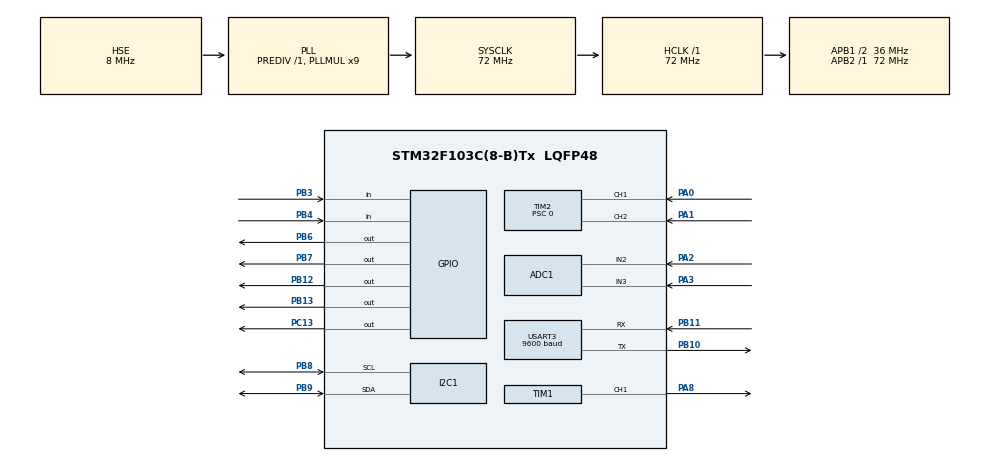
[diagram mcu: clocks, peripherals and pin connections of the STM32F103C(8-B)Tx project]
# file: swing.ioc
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ADC1.Channel-0\#ChannelRegularConversion=ADC_CHANNEL_2
ADC1.NbrOfConversionFlag=1
ADC1.Rank-0\#ChannelRegularConversion=1
ADC1.SamplingTime-0\#ChannelRegularConversion=ADC_SAMPLETIME_1CYCLE_5
ADC1.master=1
Mcu.Family=STM32F1
Mcu.Name=STM32F103C(8-B)Tx
Mcu.Package=LQFP48
NVIC.ADC1_2_IRQn=true\:0\:0\:false\:false\:true\:true\:true\:true
NVIC.PriorityGroup=NVIC_PRIORITYGROUP_4
NVIC.TIM1_BRK_IRQn=true\:0\:0\:false\:false\:true\:true\:true\:true
NVIC.TIM1_CC_IRQn=true\:0\:0\:false\:false\:true\:true\:true\:true
NVIC.TIM1_TRG_COM_IRQn=true\:0\:0\:false\:false\:true\:true\:true\:true
NVIC.TIM1_UP_IRQn=true\:0\:0\:false\:false\:true\:true\:true\:true
NVIC.TIM2_IRQn=true\:0\:0\:false\:false\:true\:true\:true\:true
NVIC.TIM3_IRQn=true\:0\:0\:false\:false\:true\:true\:true\:true
NVIC.TIM4_IRQn=true\:0\:0\:false\:false\:true\:true\:true\:true
NVIC.USART3_IRQn=true\:1\:0\:true\:false\:true\:true\:true\:true
PA0-WKUP.Signal=S_TIM2_CH1_ETR
PA1.Signal=S_TIM2_CH2
PA13.Mode=Serial_Wire
PA13.Signal=SYS_JTMS-SWDIO
PA14.Mode=Serial_Wire
PA14.Signal=SYS_JTCK-SWCLK
PA2.Signal=ADCx_IN2
PA3.Signal=ADCx_IN3
PA8.Signal=S_TIM1_CH1
PB10.Mode=Asynchronous
PB10.Signal=USART3_TX
PB11.Mode=Asynchronous
PB11.Signal=USART3_RX
PB12.Signal=GPIO_Output
PB13.Signal=GPIO_Output
PB3.GPIO_PuPd=GPIO_PULLUP
PB3.Signal=GPIO_Input
PB4.GPIO_PuPd=GPIO_PULLUP
PB4.Signal=GPIO_Input
PB6.Signal=GPIO_Output
PB7.Signal=GPIO_Output
PB8.Mode=I2C
PB8.Signal=I2C1_SCL
PB9.Mode=I2C
PB9.Signal=I2C1_SDA
PC13-TAMPER-RTC.PinState=GPIO_PIN_SET
PC13-TAMPER-RTC.Signal=GPIO_Output
PD0-OSC_IN.Mode=HSE-External-Oscillator
PD0-OSC_IN.Signal=RCC_OSC_IN
PD1-OSC_OUT.Mode=HSE-External-Oscillator
PD1-OSC_OUT.Signal=RCC_OSC_OUT
ProjectManager.HeapSize=0x200
ProjectManager.StackSize=0x400
ProjectManager.TargetToolchain=MDK-ARM V5.32
RCC.ADCPresc=RCC_ADCPCLK2_DIV6
RCC.AHBFreq_Value=72000000
RCC.APB1CLKDivider=RCC_HCLK_DIV2
RCC.APB1Freq_Value=36000000
RCC.APB1TimFreq_Value=72000000
RCC.APB2Freq_Value=72000000
RCC.APB2TimFreq_Value=72000000
RCC.HCLKFreq_Value=72000000
RCC.PLLMUL=RCC_PLL_MUL9
RCC.PLLSourceVirtual=RCC_PLLSOURCE_HSE
RCC.SYSCLKFreq_VALUE=72000000
RCC.SYSCLKSource=RCC_SYSCLKSOURCE_PLLCLK
RCC.USBFreq_Value=72000000
SH.ADCx_IN2.0=ADC1_IN2,IN2
SH.ADCx_IN3.0=ADC1_IN3,IN3
SH.S_TIM1_CH1.0=TIM1_CH1,PWM Generation1 CH1
SH.S_TIM2_CH1_ETR.0=TIM2_CH1,Encoder_Interface
SH.S_TIM2_CH2.0=TIM2_CH2,Encoder_Interface
TIM1.Channel-PWM\ Generation1\ CH1=TIM_CHANNEL_1
TIM1.Period=10000-1
TIM1.Prescaler=72-1
TIM2.EncoderMode=TIM_ENCODERMODE_TI12
TIM2.Period=65535
TIM2.Prescaler=0
TIM3.Period=1000-1
TIM3.Prescaler=72-1
TIM4.Period=1499
TIM4.Prescaler=721
USART3.BaudRate=9600
USART3.VirtualMode=VM_ASYNC
VP_TIM1_VS_ClockSourceINT.Mode=Internal
VP_TIM3_VS_ClockSourceINT.Mode=Internal
VP_TIM4_VS_ClockSourceINT.Mode=Internal
board=custom

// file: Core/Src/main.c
/* USER CODE BEGIN Header */
/**
 ******************************************************************************
 * @file           : main.c
 * @brief          : Main program body
 ******************************************************************************
 * @attention
 *
 * Copyright (c) 2024 STMicroelectronics.
 * All rights reserved.
 *
 * This software is licensed under terms that can be found in the LICENSE file
 * in the root directory of this software component.
 * If no LICENSE file comes with this software, it is provided AS-IS.
 *
 ******************************************************************************
 */
/* USER CODE END Header */
#include "main.h"
#include "adc.h"
#include "i2c.h"
#include "tim.h"
#include "usart.h"
#include "gpio.h"

/* USER CODE BEGIN Includes */
#include "oled.h"
#include "interrupt.h"
#include "adcc.h"
#include "string.h"
#include "stdio.h"
#include "pid.h"
#include "vofa.h"
/* USER CODE END Includes */

/* USER CODE BEGIN PTD */
extern char rxdatas[30];
extern uint8_t rxdata;
extern unsigned char rx_pointer;
extern int flag_stop;
int flag_init = 0;
extern int num_counter;

//extern uint8_t rx_buff;

extern float v_out;
extern float x_out;

extern int start_mode ;

extern int alarm_left ;
extern int alarm_right ;
extern int raw_now;
extern int raw_filter;
extern float err_x;
extern int target_angle;
int timer_sign=0;
int c=0,b=0;
extern float t2;
extern float t;
extern float location;

 int flag_jc12=0;
 int flag_jc3=0;
int flag_fh=0;

/* USER CODE END PTD */

void SystemClock_Config(void);

int main(void)
{

  /* MCU Configuration--------------------------------------------------------*/

  /* Reset of all peripherals, Initializes the Flash interface and the Systick. */
  HAL_Init();

  /* Configure the system clock */
  SystemClock_Config();

  /* Initialize all configured peripherals */
  MX_GPIO_Init();
  MX_ADC1_Init();
  MX_TIM1_Init();
  MX_I2C1_Init();
  MX_USART3_UART_Init();
  MX_TIM2_Init();
  MX_TIM3_Init();
  MX_TIM4_Init();
  /* USER CODE BEGIN 2 */
  OLED_Init();
  OLED_Clear();
  HAL_TIM_Base_Start_IT(&htim1);
  HAL_TIM_Base_Start(&htim1);

	HAL_TIM_Base_Start_IT(&htim3);
  HAL_TIM_Base_Start(&htim3);

	HAL_TIM_Base_Start_IT(&htim4);
  HAL_TIM_Base_Start(&htim4);

  HAL_TIM_PWM_Start(&htim1, TIM_CHANNEL_1);
  HAL_ADC_Start(&hadc1);
  HAL_ADCEx_Calibration_Start(&hadc1);
  HAL_UART_Receive_IT(&huart3, &rxdata, 1);
  //HAL_UART_Receive_IT(&huart3, (uint8_t *)&rx_buff, 1);
  HAL_TIM_Encoder_Start(&htim2, TIM_CHANNEL_ALL);

  __HAL_TIM_SET_COUNTER(&htim2, 30000);

 raw_now = (int)(get_adc(&hadc1) * 100);

 num_counter = __HAL_TIM_GET_COUNTER(&htim2);
 extern int target_location;

  /* USER CODE END 2 */

  /* Infinite loop */
  /* USER CODE BEGIN WHILE */
  while (1)
  {
    OLED_ShowNum(0, 0, raw_filter, 10, 16, 1);
    OLED_ShowNum(0, 2,  location, 6, 16, 1);
    OLED_ShowNum(0, 4, raw_filter-location, 6, 16, 1);  if(x_out<0)OLED_ShowNum(40, 4, -x_out, 6, 16, 1);
		OLED_ShowNum(0, 6, start_mode, 6, 16, 1);
   // vodka_JustFloat_send(&huart3);

    ////////////////////////////////////////////////////////////////////////////////////////////////////////
     //����ʵ����Ŀ�л���
    ///////// //////// //////// //////// //////// //////// //////// //////// //////// //////// //////// ///

    if (rx_pointer >= 3)
    {
      if (rxdatas[0] == 0 && rxdatas[1] == 0) //����00
      {
        if (rxdatas[2] == 0 )
        {
					flag_stop=1;flag_jc12=0;flag_jc3=0;flag_fh=0;

        }
        if (rxdatas[2] == 1 ) /////////////////////��
        {
         //����12
					flag_jc12=1;flag_stop=0;
        }
        if (rxdatas[2] == 2)
        {
          flag_jc3=1; flag_stop=0;
        }
        if (rxdatas[2] == 3)
        {

					start_mode=-1;flag_stop=0;

        }

        rx_pointer = 0;
        memset(rxdatas, 0, 30);
      }
    }

    if (flag_stop == 1)
    {
      HAL_GPIO_WritePin(GPIOB, GPIO_PIN_12, GPIO_PIN_RESET);
      HAL_GPIO_WritePin(GPIOB, GPIO_PIN_13, GPIO_PIN_RESET);
    }

    /* USER CODE END WHILE */

  }
}

void SystemClock_Config(void)
{
  RCC_OscInitTypeDef RCC_OscInitStruct = {0};
  RCC_ClkInitTypeDef RCC_ClkInitStruct = {0};
  RCC_PeriphCLKInitTypeDef PeriphClkInit = {0};

  /** Initializes the RCC Oscillators according to the specified parameters
  * in the RCC_OscInitTypeDef structure.
  */
  RCC_OscInitStruct.OscillatorType = RCC_OSCILLATORTYPE_HSE;
  RCC_OscInitStruct.HSEState = RCC_HSE_ON;
  RCC_OscInitStruct.HSEPredivValue = RCC_HSE_PREDIV_DIV1;
  RCC_OscInitStruct.HSIState = RCC_HSI_ON;
  RCC_OscInitStruct.PLL.PLLState = RCC_PLL_ON;
  RCC_OscInitStruct.PLL.PLLSource = RCC_PLLSOURCE_HSE;
  RCC_OscInitStruct.PLL.PLLMUL = RCC_PLL_MUL9;
  if (HAL_RCC_OscConfig(&RCC_OscInitStruct) != HAL_OK)
  {
    Error_Handler();
  }

  /** Initializes the CPU, AHB and APB buses clocks
  */
  RCC_ClkInitStruct.ClockType = RCC_CLOCKTYPE_HCLK|RCC_CLOCKTYPE_SYSCLK
                              |RCC_CLOCKTYPE_PCLK1|RCC_CLOCKTYPE_PCLK2;
  RCC_ClkInitStruct.SYSCLKSource = RCC_SYSCLKSOURCE_PLLCLK;
  RCC_ClkInitStruct.AHBCLKDivider = RCC_SYSCLK_DIV1;
  RCC_ClkInitStruct.APB1CLKDivider = RCC_HCLK_DIV2;
  RCC_ClkInitStruct.APB2CLKDivider = RCC_HCLK_DIV1;

  if (HAL_RCC_ClockConfig(&RCC_ClkInitStruct, FLASH_LATENCY_2) != HAL_OK)
  {
    Error_Handler();
  }
  PeriphClkInit.PeriphClockSelection = RCC_PERIPHCLK_ADC;
  PeriphClkInit.AdcClockSelection = RCC_ADCPCLK2_DIV6;
  if (HAL_RCCEx_PeriphCLKConfig(&PeriphClkInit) != HAL_OK)
  {
    Error_Handler();
  }
}

void Error_Handler(void)
{
  __disable_irq();
  while (1)
  {
  }
}
